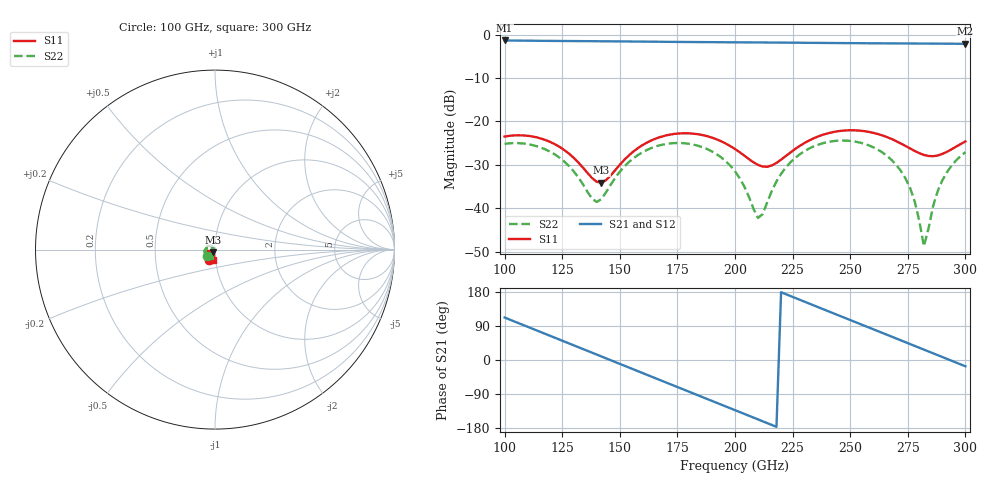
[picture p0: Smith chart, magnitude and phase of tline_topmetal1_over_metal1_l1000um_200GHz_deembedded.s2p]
! Created with skrf 2.0.1 (http://scikit-rf.org).
# GHz S DB R 50.0
!freq dBS11 angS11 dBS21 angS21 dBS12 angS12 dBS22 angS22
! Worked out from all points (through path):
!   101 points, 100 GHz to 300 GHz, reference 50 ohm
!   highest |S21| = -1.37 dB at 100 GHz (marker M1); lowest = -2.1 dB at 300 GHz (marker M2)
!   group delay of S21, straight-line fit = 6.79 ps
!   lowest |S11| = -34.1 dB at 142 GHz (marker M3), VSWR 1.04, Z = 48.7 - j1.48 ohm
!   |S11| at or under -10 dB: start of sweep to end of sweep
!   |S22| runs from -48.7 to -24.4 dB; largest |S21 - S12| = 1.5e-13
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100  -23.48 -121.1  -1.37 112.1  -1.37 112.1  -25.15 -142.3
116  -23.96 -151.2  -1.45 73.0  -1.45 73.0  -26.06 -177.5
126  -26.61 -165.3  -1.49 48.5  -1.49 48.5  -29.27 164.8
134  -30.62 -165.1  -1.52 29.0  -1.52 29.0  -34.47 164.0
138  -33.04 -153.4  -1.54 19.2  -1.54 19.2  -37.78 -177.8
142  -34.08 -129.7  -1.55 9.4  -1.55 9.4  -37.87 -142.6
154  -27.78 -97.7  -1.60 -20.0  -1.60 -20.0  -29.32 -123.7
168  -23.51 -113.4  -1.67 -54.2  -1.67 -54.2  -25.41 -149.2
184  -22.95 -138.5  -1.74 -93.3  -1.74 -93.3  -25.60 176.1
200  -26.35 -154.3  -1.79 -132.3  -1.79 -132.3  -31.48 146.8
210  -30.00 -140.4  -1.82 -156.8  -1.82 -156.8  -42.20 -173.1
216  -30.12 -118.2  -1.84 -171.5  -1.84 -171.5  -35.94 -117.1
222  -27.98 -104.1  -1.87 173.9  -1.87 173.9  -30.62 -118.0
234  -23.92 -105.5  -1.92 144.5  -1.92 144.5  -25.77 -140.3
252  -22.04 -127.8  -1.99 100.6  -1.99 100.6  -24.62 178.9
268  -24.05 -144.2  -2.04 61.6  -2.04 61.6  -28.87 142.9
276  -26.22 -143.1  -2.06 42.1  -2.06 42.1  -35.32 129.9
278  -26.78 -140.9  -2.07 37.2  -2.07 37.2  -38.37 130.2
282  -27.70 -133.3  -2.08 27.4  -2.08 27.4  -48.70 -179.0
286  -27.99 -123.0  -2.09 17.6  -2.09 17.6  -39.42 -106.2
290  -27.47 -113.0  -2.10 7.9  -2.10 7.9  -33.55 -106.3
300  -24.60 -102.9  -2.14 -16.6  -2.14 -16.6  -27.08 -125.5
